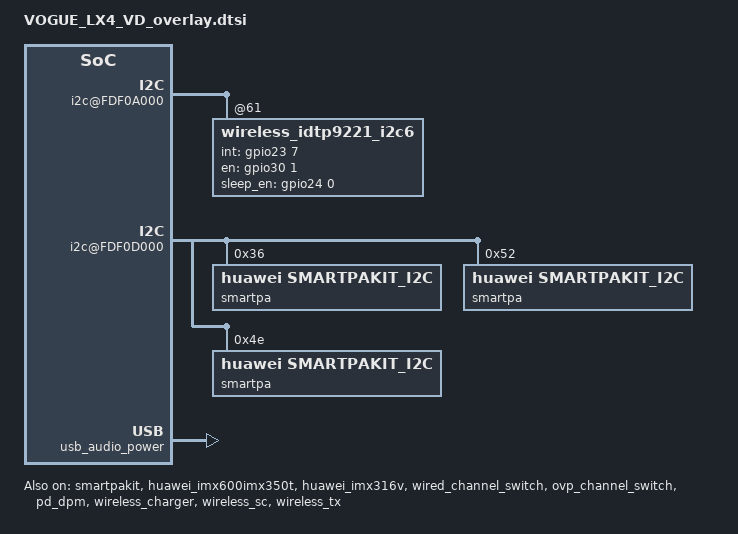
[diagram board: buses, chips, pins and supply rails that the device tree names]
/**
 * Copyright (C) 2014 Hisilicon Ltd.
 *
 *  This program is free software; you can redistribute it and/or modify
 *  it under the terms of the GNU General Public License version 2 as
 *  publishhed by the Free Software Foundation.
 */

/include/ "desayatl_4100_snYA_4400_48.dtsi"
/include/ "desayatl_4100_snYT_4400_48.dtsi"
/include/ "scudmurata_4100_snCS_4400_64.dtsi"
/include/ "scudmurata_4100_snCZ_4400_64.dtsi"
/include/ "VOGUE_LX4_VC_overlay.dtsi"

/ {
    board_id = <8517>;
};
    &rootparam{
		compatible = "hisilicon,vendor";
		hisi,boardid = <8 5 1 7>;
		hisi,boardname = "VOGUE_LX4_VD";
		hisi,modem_id = <0x3705C000>;
		hisi,product_id = <0x3705C000>;
		hisi,product_name = "VOG-LX4";
	};

	&amba {
		i2c@FDF0A000 {
			status = "ok";
			wireless_idtp9221_i2c6@61 {
				gpio_int = <&gpio23 7 0>;
				gpio_en = <&gpio30 1 0>;
				gpio_en_valid_val = <1>;
				gpio_sleep_en = <&gpio24 0 0>;
				rx_fod_5v =  <0x10c0 0x109a 0x1096 0x1098 0x1098 0x1298 0x1414 0>;
				rx_fod_9v =  <0x2d96 0x2d88 0x2888 0x2886 0x2387 0x2387 0 0>;
				rx_fod_12v = <0x2d96 0x2d88 0x2888 0x2886 0x1986 0x1986 0 0>;
				latest_otp_version = "0x88 0x66 0x03 0x0f";
				sc_rx_vrmax_gap = <150>;
				tx_fod_th_5v = <1500>;
				rx_ss_good_lth = <100>;
				status = "ok";
			};
		};
		i2c@FDF0D000 {
			smartpa@36{
				compatible = "huawei,smartpakit_i2c";
				reg = <0x36>;
				/* 0 MAXIM, 1 NXP, 2 TI, 3 OTHER, 4:huawei customize */
				chip_vendor = <4>;
				/* refer to smartpakit.out_device prop */
				chip_id = <1>;
				chip_model = "tfa9874";
				status = "ok";

				/* reg_ctl node: a node contains three data<addr value ctl_type>
				 * ctl_type: 0 read reg(default), 1 write reg, 2 only time delay
				 * value:
				 *     read:  reg number(num >= 1)
				 *     write: reg value
				 *     delay: time delay
				 * time delay unit: msecs */
				version_regs = <0x03 1 0>;
				dump_regs = <0 256 0>;
				hw_reset {
					gpio_reset = <&gpio28 4 0>;
					/* gpio_state node: a node contains two data<state delay>
					 * time delay unit: msecs */
					ctl_sequence = <1 1 0 1>;
				};
				irq_handler {
					gpio_irq = <&gpio28 5 0>;
					/* 0x0 IRQF_TRIGGER_NONE, 0x1 IRQF_TRIGGER_RISING, 0x2 IRQF_TRIGGER_FALLING, 0x4 IRQF_TRIGGER_HIGH, 0x8 IRQF_TRIGGER_LOW*/
					irq_flags = <2>;
					/* whether or not need reset chip*/
					need_reset;
					rw_sequence = <
						0x10 1 0
						0x11 1 0
						0x13 1 0
						0x14 1 0
						0x40 1 0
						0x41 1 0
						0x42 1 0
					>;
				};

				regmap_cfg {
					reg_bits = <8>;
					val_bits = <16>;
					/* 0 REGCACHE_NONE, 1 REGCACHE_RBTREE, 2 REGCACHE_COMPRESSED, 3 REGCACHE_FLAT */
					cache_type = <0>;
					max_register = <0xff>;
					reg_defaults = <
						0x00 0x1801
						0x01 0x0014
					>;
				};
			};

			smartpa@52{
				compatible = "huawei,smartpakit_i2c";
				reg = <0x52>;
				/* 0 MAXIM, 1 NXP, 2 TI, 3 OTHER, 4:huawei customize */
				chip_vendor = <4>;
				/* refer to smartpakit.out_device prop */
				chip_id = <1>;
				chip_model = "cs35l36";
				status = "ok";

				/* reg_ctl node: a node contains three data<addr value ctl_type>
				* ctl_type: 0 read reg(default), 1 write reg, 2 only time delay
				* value:
				*     read:  reg number(num >= 1)
				*     write: reg value
				*     delay: time delay
				* time delay unit: msecs */
				version_regs = <0x0 1 0>;
				dump_regs = <
					0x000000 1          0
					0x000008 1          0
					0x002014 0x21       0
					0x002400 1          0
					0x002c04 0xd        0
					0x003800 0x31       0
					0x004004 1          0
					0x004220 1          0
					0x004300 1          0
					0x004800 0x3d       0
					0x004C00 1          0
					0x004C20 0x15       0
					0x006000 1          0
					0x006404 0x11       0
					0x006450 1          0
					0x006800 0x9        0
					0x006C04 1          0
					0xd00000 0x4d       0
					0xe02800 1          0>;

				hw_reset {
					gpio_reset = <&gpio28 4 0>;
					/* gpio_state node: a node contains two data<state delay>
					* time delay unit: msecs */
					ctl_sequence = <1 1 0 1>;
				};

				irq_handler {
					gpio_irq = <&gpio28 5 0>;
					/* 0x0 IRQF_TRIGGER_NONE, 0x1 IRQF_TRIGGER_RISING, 0x2 IRQF_TRIGGER_FALLING, 0x4 IRQF_TRIGGER_HIGH, 0x8 IRQF_TRIGGER_LOW*/
					irq_flags = <2>;
					/* whether or not need reset chip*/
					need_reset;
					rw_sequence = <
						0xd00020 1          0
						0xd00024 1          0
						0xd00028 1          0
						0xd0002c 1          0
						0xd00000 0xffffffff 1
						0xd00004 0xffffffff 1
						0xd00008 0xffffffff 1
						0xd0000c 0xffffffff 1
					>;
				};

				regmap_cfg {
					reg_bits = <32>;
					val_bits = <32>;
					/* 0 REGCACHE_NONE, 1 REGCACHE_RBTREE, 2 REGCACHE_COMPRESSED, 3 REGCACHE_FLAT */
					cache_type = <0>;
					max_register = <0xe0ffff>;
				};
			};

			smartpa@4E{
				compatible = "huawei,smartpakit_i2c";
				reg = <0x4E>;
				/* 0 MAXIM, 1 NXP, 2 TI, 3 OTHER, 4:huawei customize */
				chip_vendor = <4>;
				/* refer to smartpakit.out_device prop */
				chip_id = <1>;
				chip_model = "tas2562";
				/* maybe trigger one irq after some chip reset, ext. tas2560
				* debounce wait time unit: msecs */
				reset_debounce_wait_time = <100>;
				status = "ok";

				/* reg_ctl node: a node contains three data<addr value ctl_type>
				* ctl_type: 0 read reg(default), 1 write reg, 2 only time delay
				* value:
				*     read:  reg number(num >= 1)
				*     write: reg value
				*     delay: time delay
				* time delay unit: msecs */
				version_regs = <
					0	0	1
					125	1	0
					>;
				dump_regs = <
					0	0	1
					0	128	0
					0	50	1
					0	128	0
					0	51	1
					0	128	0
					0	52	1
					0	128	0
				>;
				hw_reset {
					gpio_reset = <&gpio28 4 0>;
					/* gpio_state node: a node contains two data<state delay>
					* time delay unit: msecs */
					ctl_sequence = <0 3 1 2>;
				};

				irq_handler {
					gpio_irq = <&gpio28 5 0>;
					/* 0x0 IRQF_TRIGGER_NONE, 0x1 IRQF_TRIGGER_RISING, 0x2 IRQF_TRIGGER_FALLING, 0x4 IRQF_TRIGGER_HIGH, 0x8 IRQF_TRIGGER_LOW*/
					irq_flags = <2>;
					/* whether or not need reset chip*/
					need_reset;
					rw_sequence = <
						0	20	2
						0	0	1
						26	1	0
						27	1	0
						31	1	0
						32	1	0
						36	1	0
						37	1	0
						2	1	0
						120	1	0
					>;
				};

				regmap_cfg {
					reg_bits = <8>;
					val_bits = <8>;
					/* 0 REGCACHE_NONE, 1 REGCACHE_RBTREE, 2 REGCACHE_COMPRESSED, 3 REGCACHE_FLAT */
					cache_type = <0>;
					max_register = <128>;
				};
			};
		};
	};

	&smartpakit {
		/* 0 hisi, 1 qcom */
		soc_platform = <0>;
		/* algo running on: 0 codec_dsp, 1 soc_dsp, 2 smartpa_dsp, 3 simple pa(not smpartpa), 4 simple pa(with i2c) */
		algo_in = <1>;
		/* algo_in params need match out_device for smartpa.
		 * Now, up to only support four pa, so out_device = <0 0 0 0>;
		 * 1. This array is arranged in the following order:
		 *    <0 1 2 3>
		 *    <pril prir secl secr>
		 * 2. This array element value is 0 or 1:
		 *    smartpa: 0 speaker, 1 receiver
		 *    simple pa: out_device not applicable, only set 0 to indicate pa_num
		 * 3. The length of this array is variable, for example:
		 *    single pa: out_device = <0>;
		 *    two pa: out_device = <0 0>;
		 *    four pa: out_device = <1 1 0 0>; */
		out_device = <0 1>;
		dsp_img_name = "hifi_6405_virtual_btn_devkit.img";
		special_name_config = "smartpa_with_ep";
		status = "ok";
		switch_ctl {
			gpio_reset0 = <0>;
			gpio_reset1 = <0>;
			gpio_state_default = <1 1>;
		};
	};

    &sensorhub_ext_config {
        homo_activity = "enabled";
    }; 
	&hisi_battery {
		batt_name = <&desayatl_4100_snYA_4400_48 &desayatl_4100_snYT_4400_48 &scudmurata_4100_snCS_4400_64 &scudmurata_4100_snCZ_4400_64>;
	};

	&huawei_imx600imx350t {
		/*lx9_vD delete gpio250*/
		gpios = <&gpio1 4 0 &gpio6 4 0 &gpio24 5 0 &gpio31 1 0>;
		huawei,gpio-ctrl-types = "reset", "reset2", "vcm_pwdn", "dvdd0-en";

		huawei,cam-power-seq-type = "sensor_pmic", "sensor_pmic", "sensor_pmic", "sensor_pmic",
		"sensor_dvdd", "sensor_vcm_pwdn", "sensor_iovdd", "sensor_dvdd0_en",
		"sensor_mclk", "sensor_mclk",
		"sensor_rst", "sensor_rst2";
		huawei,cam-power-seq-cfg-val = <3100000 2800000 2800000 1800000 1100000 0 1800000 0 0 0 0 0>;
		huawei,cam-power-seq-val = <5 0 1 2 0xFF 0xFF 0xFF 0xFF 0xFF 0xFF 0xFF 0xFF>;
		huawei,cam-power-seq-sensor-index = <0xFF 0xFF 0xFF 0xFF 0xFF 0xFF 0xFF 0xFF 0 2 0xFF 0xFF>;
		huawei,cam-power-seq-delay = <0 0 0 0 0 1 0 1 1 1 1 1>;

		huawei,cam-power-down-seq-type ="sensor_rst2", "sensor_rst", "sensor_mclk", "sensor_mclk",
		"sensor_dvdd0_en", "sensor_iovdd", "sensor_vcm_pwdn", "sensor_dvdd",
		"sensor_pmic", "sensor_pmic",
		"sensor_pmic", "sensor_pmic";
		huawei,cam-power-down-seq-cfg-val = <0 0 0 0 0 1800000 0 1100000 1800000 2800000 2800000 3100000>;
		huawei,cam-power-down-seq-val = <0xFF 0xFF 0xFF 0xFF 0xFF 0xFF 0xFF 0xFF 2 1 0 5>;
		huawei,cam-power-down-seq-sensor-index = <0xFF 0xFF 2 0 0xFF 0xFF 0xFF 0xFF 0xFF 0xFF 0xFF 0xFF>;
		huawei,cam-power-down-seq-delay = <1 1 1 1 1 0 1 0 0 0 0 0>;

		status = "ok";
	};

	&huawei_imx316v{
		compatible = "huawei,sensor";
		huawei,sensor_name = "IMX316V";
		huawei,sensor_index = <6>;/*2 moca*/
		huawei,is_fpga = <0>;
		huawei,pd_valid = <1>;
		huawei,reset_valid = <1>;
		huawei,vcmpd_valid = <0>;
		huawei,csi_index = <1>;
		huawei,i2c_index = <1>;
		/*cdphy-csi2*/
		huawei,phyinfo_valid = <1>;
		huawei,is_master_sensor = <1>;
		huawei,phy_id = <3>;
		huawei,phy_mode = <0>;
		huawei,phy_freq_mode = <0>;
		huawei,phy_freq = <80000000>;
		huawei,phy_work_mode = <0>;//dphy use single
		clock-names = "clk_rxdphy3_cfg";
		clocks = <&clk_gate_rxdphy3_cfg>;
		huawei,mclk = <24000000>;
		huawei,rxdphyclk = <80000000>;
		huawei,phyclk = <80000000>;
		phy-clock-num = <1>;
		iovdd-supply = <&ldo21>;
		dvdd-supply = <&ldo38>;
		huawei,ldo-names = "iovdd", "dvdd";
		gpios = <&gpio27 5 0 &gpio24 5 0 &gpio23 2 0 &gpio6 2 0 &gpio3 7 0>;
		huawei,gpio-ctrl-types = "mipisw", "dvdd1-en", "vcm_pwdn", "reset", "reset2";
		huawei,cam-power-seq-type =
			"sensor_rst2",
			"sensor_iovdd",
			"sensor_mipi_sw",
			"sensor_dvdd",
			"sensor_dvdd1_en",
			"sensor_vcm_pwdn",
			"sensor_mclk",
			"sensor_rst";
		huawei,cam-power-seq-cfg-val = <0 1800000 0 1205000 0 0 0 0>;
		huawei,cam-power-seq-val = <0xFF 0xFF 0xFF 0xFF 0xFF 0xFF 0xFF 0xFF>;
		huawei,cam-power-seq-sensor-index = <0xFF 0xFF 0xFF 0xFF 0xFF 0xFF 6 0xFF>;
		huawei,cam-power-seq-delay = <1 0 1 0 1 1 0 1>;

		huawei,cam-power-down-seq-type =
			"sensor_rst",
			"sensor_mclk",
			"sensor_vcm_pwdn",
			"sensor_dvdd1_en",
			"sensor_dvdd",
			"sensor_mipi_sw",
			"sensor_iovdd",
			"sensor_rst2";
		huawei,cam-power-down-seq-cfg-val = <0 0 0 0 1205000 0 1800000 0>;
		huawei,cam-power-down-seq-val = <0xFF 0xFF 0xFF 0xFF 0xFF 0xFF 0xFF 0xFF>;
		huawei,cam-power-down-seq-sensor-index = <0xFF 6 0xFF 0xFF 0xFF 0xFF 0xFF 0xFF>;
		huawei,cam-power-down-seq-delay = <1 0 1 1 0 1 0 1>;

		huawei,ext_type = <2>;
		huawei,ext_name = "oflim_lumentum", "sunny_lumentum", "ofilm_vertilite", "sunny_ams";

		huawei,adc_threshold = <1900 1700 1000 800 700 500 500 350>;
		huawei,adc_channel = <9>;/*add for TOF Tx*/
		status = "ok";
	};

	&usb_audio_power_v600 {
		compatible = "huawei,usb_audio_power_v600";
		status = "disabled";
	};

	&usb_audio_power {
		compatible = "huawei,usb_audio_power";
		gpio_type = <0>;
		gpio_one_ctrl = <1>;
		gpio_low_power_ctrl = <&gpio6 5 0>;
		status = "ok";
	};

	/*for charge begin*/
	&wired_channel_switch {
		use_ovp_cutoff_wired_channel = <1>;
		use_super_switch_cutoff_wired_channel = <0>;
		use_wireless_switch_cutoff_wired_channel = <0>;
		status = "ok";
	};
	&ovp_channel_switch {
		gpio_ovp_chsw_en = <&gpio21 1 0>;
		gpio_low_by_set_input = <0>;
		status = "ok";
	};
	&vbus_channel_boost_gpio {
		gpio_otg_switch = <&gpio31 2 0>;
		status = "ok";
	};
	&pd_dpm {
		otg_channel = <1>;
		status = "ok";
	};
	&wireless_charger {
		gpio_sw = <&gpio21 3 0>;
		hvc_need_5vbst = <1>;
		gpio_sw_valid_val = <0>;
		rx_qval = <0x3c>;
		interference_para =
			"0x01", "0xfe", "139", "5000", "5500", "475",
			"0x02", "0xfd", "-1",  "5000", "5500", "800";
		segment_para = <
			99 100 5000 5500 475
		>;
		rx_iout_ctrl_para = <
			0     80    130
			80    150   300
			150   250   400
			250   325   475
			325   450   600
			450   550   700
			550   675   825
			675   850   1000
			850   950   1100
			950   9999  1200
		>;
		rx_mode_para =
			/*This table should be arranged in ascending order of power mode priority*/
			/*mode  tx_vout  tx_iout tx_vset  rx_vset  rx_iset vrect_lth tbatt cable cert  icon time expect_mode*/
			"5W",   "5000",  "500",  "5000",  "5500",  "1000", "4650",   "-1", "-1", "-1", "0", "-1",  "3",
			"7.5W", "9000",  "1500", "9000",  "9900",  "825",  "9000",   "-1", "-1", "-1", "0", "-1",  "2",
			"10W",  "9000",  "2000", "9000",  "9900",  "1100", "9000",   "-1", "-1", "1",  "1", "-1",  "3",
			"SC",   "9000",  "2000", "9000",  "9000",  "1250", "9000",   "45", "-1", "1",  "1", "-1",  "-1",
			"15W",  "11000", "2000", "12000", "12000", "1300", "11000",  "34", "-1", "1",  "1", "180", "-1";
		tx_prop =
			"0x01", "SDP",     "0", "0", "5000", "475",
			"0x02", "CDP",     "0", "0", "5000", "1000",
			"0x03", "NON_STD", "0", "0", "5000", "1000",
			"0x04", "DCP",     "0", "0", "5000", "1000",
			"0x05", "FCP",     "0", "1", "9000", "2000",
			"0x06", "SCP",     "0", "1", "5000", "1000",
			"0x07", "PD",      "0", "1", "5000", "1000",
			"0x08", "QC",      "0", "1", "5000", "1000",
			"0x09", "OTG",     "0", "0", "5000", "475",
			"0xff", "ERR",     "0", "0", "5000", "1000";
		status = "ok";
	};
	&wireless_sc {
		need_wired_sw_on = <0>;
		rx_init_delt_vout = <200>;
		vrect_vout_diff = <600>;
		status = "ok";
	};
	&wireless_tx {
		tx_iin_limit = <0 500 300 1000 1000 0 0 0 0 1000 0 0>;
		gpio_sw = <&gpio21 2 0>;
		gpio_sw_valid_val = <1>;
		pwr_type = <1>; //1:5VBST_OTG
		status = "ok";
	};
	/*for charge end*/

	&direct_charger_sc {
		volt_para =
			"4150", "8000", "6100",
			"4250", "6100", "5200",
			"4300", "5200", "4100",
			"4400", "4100", "2000";
		volt_para1 =
			"4200", "8000", "6100",
			"4330", "6100", "5200",
			"4350", "5200", "4100",
			"4400", "4100", "2000";
		volt_para2 =
			"4150", "8000", "6100",
			"4250", "6100", "5200",
			"4300", "5200", "4100",
			"4400", "4100", "2000";
		volt_para3 =
			"4200", "8000", "6100",
			"4255", "6100", "5200",
			"4300", "5200", "4100",
			"4400", "4100", "2000";
	};
	&ds28el16 {
		check-key-page-stauts = <0>;
	};
